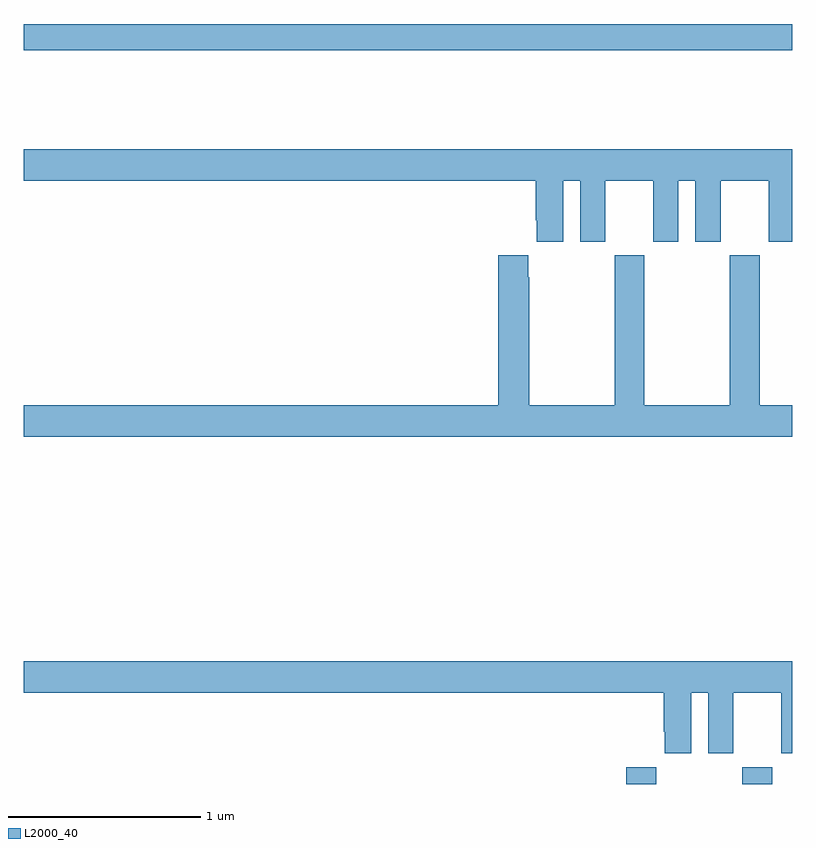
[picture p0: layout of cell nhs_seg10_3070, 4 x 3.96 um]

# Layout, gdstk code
import gdstk
lib = gdstk.Library(unit=1e-6, precision=1e-09)
def R(c, l, rs):  # rectangles x0, y0, x1, y1
    for r in rs: c.add(gdstk.rectangle(r[:2], r[2:], *l))
def P(c, l, *ps):  # polygons
    for p in ps: c.add(gdstk.Polygon(p, *l))
L2000_40 = (2000, 40)

nhs_seg10_3070 = lib.new_cell('nhs_seg10_3070')
R(nhs_seg10_3070, L2000_40, [(280.136,1306.5,280.291,1306.588), (280.741,1306.5,280.896,1306.588), (277,1310.32,281,1310.456)])
P(nhs_seg10_3070, L2000_40, [(279.808,1309.64),(279.896,1309.64),(279.896,1309.323),(280.027,1309.323),(280.027,1309.64),(280.277,1309.64),(280.277,1309.323),(280.408,1309.323),(280.408,1309.64),(280.496,1309.64),(280.496,1309.323),(280.627,1309.323),(280.627,1309.64),(280.877,1309.64),(280.877,1309.323),(281,1309.323),(281,1309.804),(277,1309.804),(277,1309.64),(279.665,1309.64),(279.665,1309.435),(279.671,1309.435),(279.671,1309.323),(279.808,1309.323)],
  [(280.675,1309.252),(280.675,1308.472),(280.23,1308.472),(280.23,1309.252),(280.075,1309.252),(280.075,1308.472),(279.63,1308.472),(279.63,1309.139),(279.625,1309.139),(279.625,1309.252),(279.47,1309.252),(279.47,1308.472),(277,1308.472),(277,1308.308),(281,1308.308),(281,1308.472),(280.83,1308.472),(280.83,1309.252)],
  [(280.474,1306.976),(280.562,1306.976),(280.562,1306.659),(280.693,1306.659),(280.693,1306.976),(280.943,1306.976),(280.943,1306.659),(281,1306.659),(281,1307.14),(277,1307.14),(277,1306.976),(280.331,1306.976),(280.331,1306.771),(280.337,1306.771),(280.337,1306.659),(280.474,1306.659)])

lib.write_gds('nhs_seg10_3070.gds')
